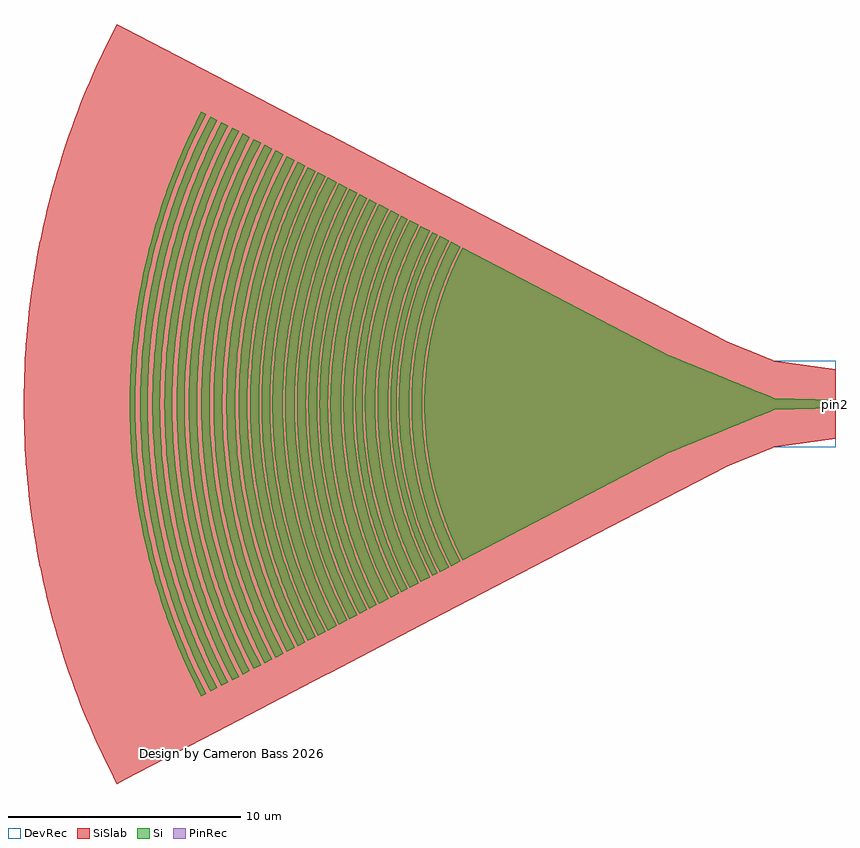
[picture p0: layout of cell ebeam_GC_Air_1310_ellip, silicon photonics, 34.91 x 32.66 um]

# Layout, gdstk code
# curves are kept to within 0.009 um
import gdstk
lib = gdstk.Library(unit=1e-6, precision=1e-09)
def P(c, l, *ps):  # polygons
    for p in ps: c.add(gdstk.Polygon(p, *l))
Si = (1, 0)
PinRec = (1, 10)
SiSlab = (2, 0)
DevRec = (68, 0)

ebeam_gc_air_1310_ellip = lib.new_cell('ebeam_GC_Air_1310_ellip')
P(ebeam_gc_air_1310_ellip, Si, [(-16.048,-6.716),(-16.41,-5.969),(-16.784,-5.053),(-17.013,-4.384),(-17.278,-3.431),(-17.454,-2.601),(-17.581,-1.763),(-17.659,-0.918),(-17.687,-0.071),(-17.659,0.918),(-17.581,1.763),(-17.454,2.602),(-17.278,3.431),(-17.013,4.384),(-16.784,5.053),(-16.41,5.969),(-16.048,6.716),(-7.151,2.083),(-3.185,0.464),(-2.877,0.35),(-2.692,0.262),(-2.649,0.25),(0,0.175),(0,-0.175),(-2.677,-0.257),(-2.846,-0.337),(-3.2,-0.47),(-7.123,-2.07)],
  [(-16.54,-6.971),(-16.913,-6.199),(-17.25,-5.385),(-17.539,-4.553),(-17.779,-3.706),(-17.97,-2.846),(-18.11,-1.976),(-18.209,-0.954),(-18.239,-0.073),(-18.218,0.807),(-18.128,1.831),(-17.997,2.702),(-17.814,3.563),(-17.705,3.99),(-17.539,4.553),(-17.25,5.385),(-16.913,6.199),(-16.54,6.972),(-16.137,6.762),(-16.501,6.01),(-16.828,5.221),(-17.108,4.415),(-17.341,3.593),(-17.552,2.62),(-17.68,1.775),(-17.767,0.783),(-17.787,0.071),(-17.767,-0.783),(-17.68,-1.775),(-17.552,-2.619),(-17.375,-3.455),(-17.15,-4.279),(-16.878,-5.088),(-16.501,-6.01),(-16.137,-6.762)],
  [(-17.021,-7.222),(-17.407,-6.423),(-17.756,-5.58),(-18.055,-4.718),(-18.304,-3.84),(-18.501,-2.949),(-18.646,-2.048),(-18.739,-1.14),(-18.766,-0.684),(-18.78,-0.076),(-18.758,0.836),(-18.683,1.746),(-18.626,2.199),(-18.529,2.799),(-18.34,3.692),(-18.186,4.281),(-18.055,4.718),(-17.756,5.58),(-17.407,6.423),(-17.021,7.222),(-16.628,7.018),(-17.064,6.105),(-17.395,5.283),(-17.678,4.442),(-17.912,3.587),(-18.095,2.72),(-18.228,1.843),(-18.309,0.96),(-18.339,0.074),(-18.318,-0.812),(-18.228,-1.843),(-18.095,-2.72),(-17.912,-3.587),(-17.678,-4.442),(-17.395,-5.283),(-17.064,-6.105),(-16.628,-7.018)],
  [(-17.341,-7.389),(-17.736,-6.571),(-18.093,-5.709),(-18.399,-4.827),(-18.654,-3.929),(-18.856,-3.017),(-18.937,-2.557),(-19.024,-1.941),(-19.11,-1.011),(-19.141,-0.078),(-19.119,0.856),(-19.024,1.941),(-18.884,2.864),(-18.691,3.778),(-18.445,4.678),(-18.148,5.563),(-17.98,5.999),(-17.736,6.572),(-17.341,7.389),(-17.11,7.268),(-17.56,6.324),(-17.794,5.759),(-17.955,5.329),(-18.104,4.894),(-18.282,4.308),(-18.401,3.865),(-18.539,3.268),(-18.703,2.364),(-18.799,1.605),(-18.858,0.842),(-18.88,0.077),(-18.865,-0.689),(-18.814,-1.452),(-18.703,-2.364),(-18.57,-3.118),(-18.473,-3.567),(-18.323,-4.16),(-18.196,-4.602),(-18.006,-5.184),(-17.794,-5.758),(-17.56,-6.324),(-17.11,-7.268)],
  [(-17.837,-7.647),(-18.31,-6.654),(-18.671,-5.758),(-18.979,-4.842),(-19.233,-3.91),(-19.433,-2.964),(-19.577,-2.009),(-19.666,-1.046),(-19.699,-0.08),(-19.675,0.886),(-19.596,1.849),(-19.461,2.806),(-19.34,3.439),(-19.233,3.91),(-18.979,4.842),(-18.671,5.758),(-18.497,6.209),(-18.245,6.802),(-17.837,7.647),(-17.43,7.435),(-17.891,6.47),(-18.186,5.745),(-18.495,4.857),(-18.751,3.954),(-18.983,2.882),(-19.123,1.953),(-19.187,1.33),(-19.219,0.861),(-19.241,0.078),(-19.219,-0.861),(-19.187,-1.33),(-19.123,-1.953),(-18.983,-2.882),(-18.788,-3.801),(-18.541,-4.708),(-18.241,-5.598),(-17.891,-6.47),(-17.43,-7.435)],
  [(-18.317,-7.897),(-18.739,-7.023),(-18.999,-6.411),(-19.178,-5.946),(-19.497,-5),(-19.759,-4.037),(-19.965,-3.061),(-20.115,-2.074),(-20.206,-1.081),(-20.24,-0.083),(-20.216,0.915),(-20.134,1.909),(-19.994,2.897),(-19.798,3.876),(-19.635,4.521),(-19.497,5),(-19.178,5.946),(-18.999,6.411),(-18.739,7.024),(-18.317,7.897),(-17.927,7.694),(-18.338,6.843),(-18.53,6.397),(-18.766,5.793),(-19.076,4.872),(-19.332,3.934),(-19.533,2.982),(-19.678,2.021),(-19.768,1.053),(-19.801,0.081),(-19.777,-0.891),(-19.697,-1.86),(-19.561,-2.823),(-19.472,-3.301),(-19.332,-3.933),(-19.076,-4.871),(-18.766,-5.793),(-18.53,-6.396),(-18.338,-6.843),(-17.927,-7.694)],
  [(-18.679,-8.085),(-19.111,-7.19),(-19.502,-6.246),(-19.837,-5.281),(-20.029,-4.628),(-20.156,-4.133),(-20.367,-3.134),(-20.52,-2.123),(-20.614,-1.106),(-20.648,-0.085),(-20.624,0.936),(-20.54,1.955),(-20.397,2.966),(-20.269,3.635),(-20.156,4.133),(-20.029,4.628),(-19.837,5.281),(-19.502,6.246),(-19.111,7.19),(-18.679,8.085),(-18.406,7.944),(-18.691,7.369),(-18.898,6.912),(-19.154,6.294),(-19.33,5.824),(-19.493,5.349),(-19.687,4.709),(-19.817,4.224),(-19.968,3.572),(-20.147,2.584),(-20.252,1.754),(-20.317,0.92),(-20.341,0.084),(-20.317,-0.92),(-20.252,-1.754),(-20.147,-2.584),(-20.002,-3.408),(-19.896,-3.898),(-19.732,-4.547),(-19.544,-5.189),(-19.386,-5.666),(-19.154,-6.293),(-18.965,-6.758),(-18.691,-7.369),(-18.406,-7.943)],
  [(-19.137,-8.324),(-19.582,-7.403),(-19.857,-6.757),(-20.046,-6.267),(-20.381,-5.27),(-20.658,-4.255),(-20.875,-3.226),(-21.033,-2.186),(-21.129,-1.139),(-21.165,-0.088),(-21.155,0.614),(-21.129,1.139),(-21.033,2.186),(-20.875,3.226),(-20.658,4.255),(-20.381,5.27),(-20.046,6.267),(-19.653,7.243),(-19.436,7.721),(-19.137,8.324),(-18.769,8.132),(-19.204,7.232),(-19.472,6.601),(-19.656,6.122),(-19.984,5.148),(-20.255,4.157),(-20.467,3.152),(-20.621,2.136),(-20.715,1.113),(-20.75,0.086),(-20.725,-0.942),(-20.641,-1.966),(-20.497,-2.983),(-20.403,-3.488),(-20.255,-4.157),(-19.984,-5.148),(-19.656,-6.122),(-19.273,-7.075),(-19.061,-7.543),(-18.769,-8.132)],
  [(-19.636,-8.584),(-20.093,-7.636),(-20.508,-6.634),(-20.863,-5.609),(-21.159,-4.565),(-21.393,-3.506),(-21.566,-2.435),(-21.676,-1.355),(-21.707,-0.814),(-21.725,-0.09),(-21.699,0.994),(-21.609,2.076),(-21.458,3.15),(-21.322,3.86),(-21.202,4.39),(-20.917,5.436),(-20.693,6.124),(-20.508,6.634),(-20.093,7.636),(-19.636,8.584),(-19.227,8.371),(-19.674,7.444),(-20.079,6.467),(-20.259,5.97),(-20.478,5.3),(-20.714,4.45),(-20.942,3.418),(-21.111,2.374),(-21.189,1.673),(-21.23,1.145),(-21.266,0.088),(-21.261,-0.441),(-21.23,-1.145),(-21.133,-2.198),(-20.975,-3.244),(-20.756,-4.279),(-20.478,-5.299),(-20.259,-5.97),(-20.079,-6.467),(-19.674,-7.444),(-19.227,-8.371)],
  [(-20.051,-8.8),(-20.521,-7.826),(-20.946,-6.799),(-21.311,-5.748),(-21.614,-4.678),(-21.854,-3.593),(-22.031,-2.495),(-22.144,-1.389),(-22.176,-0.834),(-22.194,-0.093),(-22.167,1.019),(-22.076,2.127),(-22.006,2.679),(-21.888,3.411),(-21.658,4.499),(-21.47,5.216),(-21.311,5.748),(-20.946,6.799),(-20.521,7.826),(-20.051,8.8),(-19.729,8.632),(-19.959,8.172),(-20.263,7.512),(-20.474,7.009),(-20.732,6.329),(-20.964,5.64),(-21.169,4.942),(-21.346,4.237),(-21.462,3.703),(-21.619,2.808),(-21.733,1.906),(-21.804,1),(-21.83,0.091),(-21.82,-0.636),(-21.751,-1.725),(-21.646,-2.628),(-21.462,-3.703),(-21.346,-4.236),(-21.169,-4.942),(-20.964,-5.639),(-20.732,-6.329),(-20.474,-7.008),(-20.263,-7.511),(-19.959,-8.172),(-19.729,-8.632)],
  [(-20.471,-9.019),(-20.954,-8.019),(-21.39,-6.966),(-21.763,-5.89),(-22.074,-4.794),(-22.205,-4.239),(-22.355,-3.495),(-22.525,-2.368),(-22.63,-1.234),(-22.669,-0.095),(-22.641,1.044),(-22.547,2.18),(-22.388,3.308),(-22.284,3.868),(-22.119,4.61),(-21.927,5.344),(-21.763,5.89),(-21.39,6.966),(-20.954,8.019),(-20.471,9.019),(-20.141,8.847),(-20.458,8.206),(-20.763,7.526),(-21.041,6.835),(-21.232,6.309),(-21.407,5.779),(-21.617,5.064),(-21.8,4.341),(-21.918,3.795),(-22.079,2.877),(-22.196,1.953),(-22.268,1.024),(-22.295,0.093),(-22.277,-0.838),(-22.214,-1.768),(-22.106,-2.693),(-21.918,-3.795),(-21.8,-4.341),(-21.617,-5.064),(-21.407,-5.779),(-21.232,-6.309),(-20.974,-7.008),(-20.763,-7.526),(-20.458,-8.206),(-20.141,-8.847)],
  [(-20.906,-9.245),(-21.402,-8.217),(-21.848,-7.139),(-22.231,-6.036),(-22.55,-4.913),(-22.684,-4.344),(-22.838,-3.581),(-23.013,-2.427),(-23.12,-1.264),(-23.159,-0.097),(-23.154,0.487),(-23.12,1.264),(-23.013,2.427),(-22.838,3.582),(-22.596,4.724),(-22.289,5.85),(-21.917,6.957),(-21.481,8.04),(-21.239,8.571),(-20.906,9.245),(-20.565,9.067),(-20.892,8.407),(-21.204,7.71),(-21.489,7.002),(-21.685,6.464),(-21.865,5.92),(-22.08,5.188),(-22.223,4.633),(-22.388,3.888),(-22.553,2.948),(-22.673,2.001),(-22.747,1.05),(-22.775,0.096),(-22.756,-0.859),(-22.692,-1.811),(-22.581,-2.759),(-22.388,-3.888),(-22.223,-4.633),(-22.08,-5.188),(-21.865,-5.92),(-21.685,-6.464),(-21.489,-7.002),(-21.204,-7.71),(-20.892,-8.407),(-20.565,-9.067)],
  [(-21.357,-9.48),(-21.699,-8.79),(-21.946,-8.244),(-22.178,-7.692),(-22.393,-7.134),(-22.775,-5.999),(-23.09,-4.844),(-23.338,-3.673),(-23.517,-2.489),(-23.627,-1.296),(-23.667,-0.1),(-23.662,0.499),(-23.627,1.297),(-23.517,2.489),(-23.338,3.673),(-23.09,4.844),(-22.775,5.999),(-22.393,7.134),(-22.178,7.693),(-21.946,8.245),(-21.699,8.79),(-21.357,9.48),(-20.995,9.291),(-21.494,8.259),(-21.943,7.175),(-22.328,6.066),(-22.496,5.504),(-22.694,4.747),(-22.937,3.599),(-23.113,2.439),(-23.22,1.271),(-23.249,0.685),(-23.26,0.098),(-23.241,-0.88),(-23.175,-1.856),(-23.062,-2.827),(-22.864,-3.983),(-22.694,-4.747),(-22.496,-5.504),(-22.328,-6.066),(-22.078,-6.808),(-21.8,-7.539),(-21.573,-8.08),(-21.246,-8.79),(-20.995,-9.291)],
  [(-21.845,-9.733),(-22.106,-9.212),(-22.448,-8.467),(-22.686,-7.9),(-22.907,-7.326),(-23.112,-6.747),(-23.299,-6.161),(-23.47,-5.57),(-23.623,-4.975),(-23.759,-4.375),(-23.877,-3.772),(-23.978,-3.165),(-24.061,-2.556),(-24.174,-1.331),(-24.204,-0.717),(-24.215,-0.102),(-24.186,1.127),(-24.085,2.353),(-23.978,3.165),(-23.877,3.772),(-23.759,4.375),(-23.623,4.975),(-23.47,5.571),(-23.299,6.161),(-23.112,6.747),(-22.907,7.327),(-22.686,7.9),(-22.448,8.467),(-22.106,9.212),(-21.845,9.734),(-21.446,9.526),(-21.957,8.468),(-22.417,7.357),(-22.812,6.22),(-23.14,5.063),(-23.279,4.477),(-23.4,3.888),(-23.592,2.7),(-23.714,1.503),(-23.749,0.902),(-23.768,0.1),(-23.739,-1.103),(-23.681,-1.903),(-23.617,-2.501),(-23.437,-3.691),(-23.188,-4.868),(-22.871,-6.029),(-22.488,-7.169),(-22.038,-8.285),(-21.79,-8.833),(-21.446,-9.526)],
  [(-22.259,-9.949),(-22.791,-8.845),(-23.04,-8.268),(-23.272,-7.684),(-23.486,-7.094),(-23.746,-6.297),(-24.077,-5.085),(-24.336,-3.855),(-24.439,-3.235),(-24.524,-2.612),(-24.591,-1.987),(-24.64,-1.361),(-24.682,-0.105),(-24.676,0.524),(-24.652,1.152),(-24.549,2.404),(-24.47,3.028),(-24.373,3.649),(-24.258,4.267),(-24.077,5.085),(-23.746,6.297),(-23.554,6.896),(-23.272,7.684),(-23.04,8.269),(-22.791,8.846),(-22.259,9.949),(-21.934,9.78),(-22.285,9.07),(-22.54,8.508),(-22.855,7.747),(-23.072,7.168),(-23.272,6.584),(-23.511,5.796),(-23.671,5.199),(-23.857,4.396),(-23.976,3.79),(-24.077,3.18),(-24.206,2.159),(-24.286,1.132),(-24.316,0.103),(-24.31,-0.515),(-24.286,-1.132),(-24.206,-2.159),(-24.077,-3.18),(-23.976,-3.79),(-23.857,-4.396),(-23.671,-5.199),(-23.511,-5.795),(-23.272,-6.583),(-23.072,-7.168),(-22.779,-7.938),(-22.54,-8.507),(-22.285,-9.07),(-21.934,-9.78)],
  [(-22.693,-10.175),(-22.968,-9.627),(-23.239,-9.044),(-23.494,-8.454),(-23.731,-7.857),(-23.95,-7.253),(-24.152,-6.643),(-24.394,-5.821),(-24.554,-5.199),(-24.696,-4.572),(-24.819,-3.942),(-24.925,-3.308),(-25.012,-2.671),(-25.08,-2.032),(-25.13,-1.391),(-25.161,-0.75),(-25.173,-0.107),(-25.167,0.536),(-25.142,1.178),(-25.099,1.819),(-25.037,2.458),(-24.956,3.096),(-24.857,3.731),(-24.696,4.572),(-24.554,5.199),(-24.394,5.821),(-24.215,6.439),(-24.019,7.051),(-23.806,7.657),(-23.575,8.256),(-23.326,8.849),(-22.968,9.627),(-22.693,10.175),(-22.351,9.997),(-22.711,9.27),(-22.972,8.695),(-23.294,7.917),(-23.515,7.326),(-23.784,6.528),(-23.964,5.923),(-24.128,5.313),(-24.318,4.493),(-24.51,3.459),(-24.653,2.416),(-24.744,1.367),(-24.775,0.737),(-24.787,0.105),(-24.767,-0.947),(-24.73,-1.577),(-24.675,-2.206),(-24.543,-3.25),(-24.36,-4.287),(-24.227,-4.904),(-24.021,-5.72),(-23.784,-6.528),(-23.515,-7.326),(-23.294,-7.917),(-22.972,-8.695),(-22.711,-9.27),(-22.351,-9.997)],
  [(-23.125,-10.4),(-23.409,-9.834),(-23.686,-9.239),(-23.946,-8.636),(-24.189,-8.026),(-24.413,-7.409),(-24.62,-6.786),(-24.808,-6.157),(-24.978,-5.523),(-25.129,-4.885),(-25.262,-4.242),(-25.376,-3.595),(-25.471,-2.946),(-25.547,-2.294),(-25.619,-1.421),(-25.651,-0.766),(-25.663,-0.109),(-25.657,0.547),(-25.632,1.203),(-25.587,1.858),(-25.524,2.511),(-25.441,3.163),(-25.302,4.027),(-25.175,4.671),(-25.03,5.311),(-24.866,5.947),(-24.684,6.577),(-24.484,7.203),(-24.266,7.822),(-24.029,8.434),(-23.775,9.039),(-23.504,9.637),(-23.125,10.4),(-22.799,10.231),(-23.169,9.482),(-23.522,8.697),(-23.766,8.099),(-23.992,7.494),(-24.267,6.678),(-24.452,6.059),(-24.671,5.226),(-24.814,4.596),(-25.011,3.538),(-25.104,2.899),(-25.179,2.257),(-25.262,1.184),(-25.294,0.108),(-25.273,-0.969),(-25.179,-2.257),(-25.011,-3.538),(-24.814,-4.596),(-24.671,-5.226),(-24.452,-6.059),(-24.267,-6.678),(-23.992,-7.494),(-23.766,-8.099),(-23.436,-8.894),(-23.169,-9.482),(-22.799,-10.23)],
  [(-23.594,-10.645),(-23.888,-10.059),(-24.172,-9.451),(-24.438,-8.834),(-24.686,-8.21),(-24.916,-7.579),(-25.127,-6.942),(-25.32,-6.298),(-25.494,-5.65),(-25.649,-4.996),(-25.784,-4.339),(-25.936,-3.456),(-26.027,-2.791),(-26.098,-2.123),(-26.15,-1.454),(-26.183,-0.783),(-26.196,-0.112),(-26.189,0.56),(-26.163,1.231),(-26.118,1.901),(-26.053,2.569),(-25.968,3.235),(-25.864,3.899),(-25.696,4.778),(-25.547,5.433),(-25.38,6.083),(-25.193,6.728),(-24.988,7.368),(-24.765,8.001),(-24.523,8.627),(-24.263,9.246),(-23.985,9.858),(-23.594,10.645),(-23.257,10.469),(-23.544,9.897),(-23.912,9.097),(-24.168,8.488),(-24.481,7.665),(-24.695,7.04),(-24.952,6.197),(-25.176,5.345),(-25.322,4.701),(-25.524,3.618),(-25.673,2.527),(-25.736,1.87),(-25.781,1.211),(-25.813,0.11),(-25.792,-0.991),(-25.754,-1.65),(-25.696,-2.308),(-25.558,-3.401),(-25.449,-4.052),(-25.322,-4.701),(-25.176,-5.345),(-24.952,-6.197),(-24.695,-7.039),(-24.481,-7.664),(-24.168,-8.488),(-23.912,-9.097),(-23.544,-9.897),(-23.257,-10.469)],
  [(-24.077,-10.896),(-24.381,-10.291),(-24.671,-9.668),(-24.944,-9.037),(-25.198,-8.399),(-25.433,-7.754),(-25.717,-6.883),(-25.908,-6.223),(-26.079,-5.558),(-26.231,-4.888),(-26.364,-4.214),(-26.477,-3.536),(-26.57,-2.855),(-26.643,-2.172),(-26.696,-1.487),(-26.73,-0.801),(-26.743,-0.114),(-26.736,0.573),(-26.71,1.259),(-26.663,1.944),(-26.57,2.856),(-26.477,3.536),(-26.364,4.214),(-26.231,4.888),(-26.079,5.558),(-25.908,6.223),(-25.717,6.883),(-25.433,7.754),(-25.198,8.399),(-24.944,9.038),(-24.671,9.668),(-24.381,10.291),(-24.077,10.896),(-23.745,10.723),(-24.139,9.928),(-24.419,9.312),(-24.765,8.479),(-25.002,7.846),(-25.29,6.991),(-25.484,6.343),(-25.714,5.471),(-25.863,4.812),(-26.07,3.704),(-26.223,2.587),(-26.321,1.464),(-26.354,0.789),(-26.367,0.113),(-26.345,-1.014),(-26.305,-1.689),(-26.247,-2.363),(-26.105,-3.481),(-25.909,-4.591),(-25.766,-5.252),(-25.545,-6.126),(-25.29,-6.991),(-25.002,-7.846),(-24.765,-8.479),(-24.419,-9.312),(-24.042,-10.131),(-23.745,-10.723)],
  [(-24.547,-11.141),(-24.86,-10.519),(-25.157,-9.882),(-25.436,-9.237),(-25.695,-8.585),(-25.936,-7.925),(-26.157,-7.259),(-26.421,-6.361),(-26.597,-5.681),(-26.752,-4.996),(-26.888,-4.307),(-27.003,-3.614),(-27.098,-2.919),(-27.173,-2.22),(-27.228,-1.52),(-27.262,-0.819),(-27.275,-0.117),(-27.262,0.819),(-27.228,1.521),(-27.173,2.221),(-27.098,2.919),(-27.003,3.614),(-26.888,4.307),(-26.752,4.996),(-26.597,5.681),(-26.421,6.361),(-26.157,7.259),(-25.936,7.925),(-25.695,8.585),(-25.436,9.238),(-25.157,9.882),(-24.86,10.519),(-24.547,11.141),(-24.226,10.974),(-24.633,10.155),(-24.92,9.525),(-25.188,8.887),(-25.516,8.025),(-25.811,7.151),(-26.009,6.489),(-26.189,5.82),(-26.397,4.922),(-26.609,3.789),(-26.765,2.646),(-26.866,1.498),(-26.899,0.807),(-26.912,0.115),(-26.906,-0.576),(-26.879,-1.268),(-26.789,-2.417),(-26.709,-3.104),(-26.609,-3.789),(-26.397,-4.922),(-26.189,-5.82),(-26.009,-6.488),(-25.811,-7.151),(-25.516,-8.025),(-25.188,-8.887),(-24.92,-9.525),(-24.633,-10.155),(-24.226,-10.974)],
  [(-25.02,-11.387),(-25.341,-10.749),(-25.645,-10.099),(-25.929,-9.44),(-26.195,-8.773),(-26.44,-8.099),(-26.666,-7.418),(-26.873,-6.73),(-27.059,-6.037),(-27.224,-5.339),(-27.37,-4.636),(-27.494,-3.93),(-27.599,-3.22),(-27.682,-2.507),(-27.745,-1.792),(-27.796,-0.837),(-27.81,-0.12),(-27.803,0.598),(-27.775,1.315),(-27.726,2.031),(-27.657,2.745),(-27.566,3.457),(-27.414,4.401),(-27.275,5.106),(-27.116,5.805),(-26.937,6.5),(-26.737,7.19),(-26.518,7.873),(-26.195,8.773),(-25.929,9.44),(-25.645,10.099),(-25.341,10.749),(-25.02,11.387),(-24.706,11.224),(-25.124,10.383),(-25.417,9.739),(-25.691,9.087),(-26.027,8.206),(-26.256,7.537),(-26.531,6.635),(-26.715,5.951),(-26.928,5.033),(-27.144,3.874),(-27.304,2.706),(-27.373,2.002),(-27.421,1.296),(-27.455,0.118),(-27.448,-0.589),(-27.421,-1.296),(-27.329,-2.471),(-27.181,-3.641),(-27.065,-4.339),(-26.928,-5.033),(-26.715,-5.951),(-26.531,-6.634),(-26.256,-7.537),(-26.027,-8.206),(-25.691,-9.087),(-25.417,-9.739),(-25.022,-10.596),(-24.706,-11.223)],
  [(-25.482,-11.627),(-25.81,-10.975),(-26.12,-10.311),(-26.41,-9.638),(-26.681,-8.957),(-26.932,-8.269),(-27.163,-7.574),(-27.374,-6.872),(-27.564,-6.164),(-27.785,-5.213),(-27.926,-4.494),(-28.047,-3.771),(-28.146,-3.045),(-28.224,-2.317),(-28.281,-1.586),(-28.316,-0.855),(-28.331,-0.122),(-28.316,0.855),(-28.281,1.586),(-28.224,2.317),(-28.146,3.045),(-28.047,3.771),(-27.926,4.494),(-27.785,5.213),(-27.622,5.927),(-27.439,6.637),(-27.236,7.34),(-27.012,8.038),(-26.767,8.729),(-26.503,9.412),(-26.219,10.088),(-25.81,10.975),(-25.482,11.627),(-25.18,11.47),(-25.608,10.61),(-25.907,9.952),(-26.277,9.062),(-26.531,8.385),(-26.839,7.472),(-27.046,6.78),(-27.234,6.081),(-27.401,5.378),(-27.547,4.67),(-27.673,3.959),(-27.836,2.765),(-27.906,2.046),(-27.955,1.325),(-27.99,0.121),(-27.967,-1.084),(-27.925,-1.805),(-27.862,-2.525),(-27.778,-3.243),(-27.673,-3.958),(-27.452,-5.142),(-27.234,-6.081),(-27.046,-6.779),(-26.839,-7.472),(-26.531,-8.385),(-26.277,-9.062),(-25.907,-9.952),(-25.608,-10.61),(-25.18,-11.47)],
  [(-25.947,-11.869),(-26.282,-11.203),(-26.599,-10.525),(-26.895,-9.839),(-27.172,-9.144),(-27.428,-8.441),(-27.664,-7.731),(-27.879,-7.015),(-28.073,-6.292),(-28.298,-5.321),(-28.443,-4.587),(-28.565,-3.849),(-28.667,-3.108),(-28.747,-2.365),(-28.805,-1.619),(-28.841,-0.872),(-28.855,-0.125),(-28.841,0.872),(-28.805,1.619),(-28.747,2.365),(-28.667,3.109),(-28.565,3.85),(-28.443,4.587),(-28.298,5.321),(-28.132,6.05),(-27.946,6.775),(-27.738,7.493),(-27.509,8.205),(-27.26,8.91),(-26.99,9.608),(-26.599,10.525),(-26.282,11.203),(-25.947,11.87),(-25.65,11.715),(-25.981,11.058),(-26.393,10.164),(-26.679,9.483),(-27.03,8.563),(-27.269,7.865),(-27.557,6.924),(-27.748,6.211),(-27.971,5.252),(-28.196,4.043),(-28.363,2.824),(-28.435,2.089),(-28.485,1.353),(-28.521,0.123),(-28.513,-0.615),(-28.485,-1.353),(-28.389,-2.579),(-28.234,-3.799),(-28.113,-4.527),(-27.971,-5.252),(-27.807,-5.972),(-27.557,-6.923),(-27.269,-7.865),(-27.03,-8.563),(-26.679,-9.483),(-26.393,-10.163),(-25.981,-11.057),(-25.65,-11.715)],
  [(-26.406,-12.108),(-26.748,-11.428),(-27.071,-10.737),(-27.373,-10.036),(-27.655,-9.327),(-27.917,-8.61),(-28.157,-7.886),(-28.376,-7.155),(-28.574,-6.419),(-28.75,-5.676),(-28.905,-4.929),(-29.038,-4.178),(-29.148,-3.423),(-29.237,-2.665),(-29.304,-1.905),(-29.358,-0.89),(-29.373,-0.127),(-29.365,0.636),(-29.336,1.398),(-29.284,2.159),(-29.21,2.919),(-29.114,3.675),(-28.952,4.679),(-28.804,5.428),(-28.635,6.172),(-28.445,6.911),(-28.233,7.644),(-27.999,8.37),(-27.745,9.089),(-27.47,9.801),(-27.071,10.737),(-26.748,11.428),(-26.406,12.108),(-26.119,11.959),(-26.457,11.288),(-26.776,10.605),(-27.075,9.913),(-27.442,8.978),(-27.693,8.267),(-27.996,7.309),(-28.261,6.34),(-28.435,5.607),(-28.588,4.869),(-28.719,4.127),(-28.889,2.883),(-28.999,1.632),(-29.035,0.879),(-29.05,0.126),(-29.042,-0.628),(-29.013,-1.381),(-28.916,-2.633),(-28.828,-3.381),(-28.719,-4.127),(-28.588,-4.869),(-28.435,-5.607),(-28.261,-6.34),(-27.996,-7.309),(-27.693,-8.267),(-27.442,-8.977),(-27.075,-9.913),(-26.776,-10.605),(-26.457,-11.287),(-26.119,-11.959)],
  [(-26.876,-12.353),(-27.33,-11.439),(-27.652,-10.73),(-27.954,-10.011),(-28.235,-9.284),(-28.494,-8.55),(-28.732,-7.808),(-28.948,-7.059),(-29.143,-6.304),(-29.315,-5.544),(-29.465,-4.78),(-29.593,-4.011),(-29.699,-3.239),(-29.781,-2.464),(-29.842,-1.687),(-29.88,-0.909),(-29.895,-0.13),(-29.88,0.909),(-29.842,1.687),(-29.781,2.464),(-29.699,3.239),(-29.593,4.011),(-29.465,4.78),(-29.315,5.545),(-29.143,6.304),(-28.948,7.059),(-28.732,7.808),(-28.494,8.55),(-28.235,9.285),(-27.954,10.011),(-27.652,10.73),(-27.33,11.439),(-26.876,12.354),(-26.586,12.203),(-27.042,11.286),(-27.361,10.586),(-27.754,9.639),(-28.024,8.919),(-28.273,8.192),(-28.501,7.457),(-28.708,6.717),(-28.949,5.721),(-29.197,4.463),(-29.316,3.704),(-29.413,2.941),(-29.487,2.176),(-29.539,1.409),(-29.577,0.128),(-29.552,-1.153),(-29.507,-1.92),(-29.44,-2.686),(-29.279,-3.957),(-29.152,-4.716),(-29.004,-5.47),(-28.772,-6.468),(-28.572,-7.211),(-28.352,-7.948),(-28.024,-8.919),(-27.754,-9.639),(-27.361,-10.586),(-27.042,-11.286),(-26.586,-12.202)],
  [(-27.274,-12.561),(-27.629,-11.853),(-27.964,-11.136),(-28.277,-10.41),(-28.569,-9.674),(-28.826,-8.972),(-29.089,-8.18),(-29.316,-7.422),(-29.521,-6.658),(-29.703,-5.888),(-29.863,-5.113),(-30.001,-4.333),(-30.116,-3.551),(-30.233,-2.502),(-30.289,-1.794),(-30.333,-0.923),(-30.348,-0.132),(-30.34,0.659),(-30.31,1.45),(-30.256,2.24),(-30.149,3.289),(-30.042,4.073),(-29.912,4.854),(-29.759,5.63),(-29.584,6.402),(-29.387,7.168),(-29.167,7.928),(-28.926,8.682),(-28.662,9.428),(-28.377,10.166),(-27.964,11.137),(-27.629,11.854),(-27.274,12.561),(-27.065,12.452),(-27.409,11.766),(-27.741,11.055),(-28.151,10.091),(-28.434,9.358),(-28.696,8.618),(-28.936,7.87),(-29.222,6.862),(-29.41,6.1),(-29.675,4.818),(-29.804,4.043),(-29.91,3.265),(-29.994,2.484),(-30.055,1.701),(-30.093,0.916),(-30.108,0.131),(-30.083,-1.178),(-30.037,-1.962),(-29.968,-2.744),(-29.877,-3.524),(-29.763,-4.302),(-29.627,-5.075),(-29.468,-5.844),(-29.287,-6.609),(-29.084,-7.367),(-28.858,-8.12),(-28.524,-9.112),(-28.248,-9.848),(-27.847,-10.815),(-27.522,-11.53),(-27.065,-12.452)])
P(ebeam_gc_air_1310_ellip, SiSlab, [(-30.904,-16.329),(-31.366,-15.41),(-31.801,-14.477),(-32.208,-13.533),(-32.588,-12.577),(-32.94,-11.61),(-33.264,-10.634),(-33.559,-9.648),(-33.825,-8.655),(-34.062,-7.654),(-34.27,-6.647),(-34.449,-5.634),(-34.598,-4.616),(-34.717,-3.594),(-34.807,-2.569),(-34.867,-1.543),(-34.9,-0.171),(-34.89,0.857),(-34.85,1.885),(-34.781,2.912),(-34.681,3.935),(-34.552,4.956),(-34.393,5.972),(-34.135,7.319),(-33.907,8.322),(-33.651,9.318),(-33.365,10.307),(-33.051,11.286),(-32.709,12.256),(-32.338,13.216),(-31.94,14.164),(-31.366,15.41),(-30.904,16.329),(-4.744,2.708),(-2.65,1.855),(0,1.5),(0,-1.5),(-2.65,-1.855),(-4.728,-2.7)])
P(ebeam_gc_air_1310_ellip, DevRec, [(-30.904,-16.329),(-31.366,-15.41),(-31.801,-14.477),(-32.208,-13.533),(-32.588,-12.577),(-32.94,-11.61),(-33.264,-10.634),(-33.559,-9.648),(-33.825,-8.655),(-34.062,-7.654),(-34.27,-6.647),(-34.449,-5.634),(-34.598,-4.616),(-34.717,-3.594),(-34.807,-2.569),(-34.867,-1.543),(-34.9,-0.171),(-34.89,0.857),(-34.85,1.885),(-34.781,2.912),(-34.681,3.935),(-34.552,4.956),(-34.393,5.972),(-34.135,7.319),(-33.907,8.322),(-33.651,9.318),(-33.365,10.307),(-33.051,11.286),(-32.709,12.256),(-32.338,13.216),(-31.94,14.164),(-31.366,15.41),(-30.904,16.329),(-4.744,2.708),(-2.65,1.855),(0,1.855),(0,-1.855),(-2.65,-1.855),(-4.728,-2.7)])
ebeam_gc_air_1310_ellip.add(gdstk.FlexPath([(-0.01,0),(0.01,0)], 0.35, ends="flush", simple_path=True, layer=1, datatype=10))  # PinRec
ebeam_gc_air_1310_ellip.add(gdstk.Label('pin2', (0,0), layer=1, texttype=10))
ebeam_gc_air_1310_ellip.add(gdstk.Label('Design by Cameron Bass 2026', (-25.94,-15.02), layer=10, texttype=0))

lib.write_gds('ebeam_GC_Air_1310_ellip.gds')
